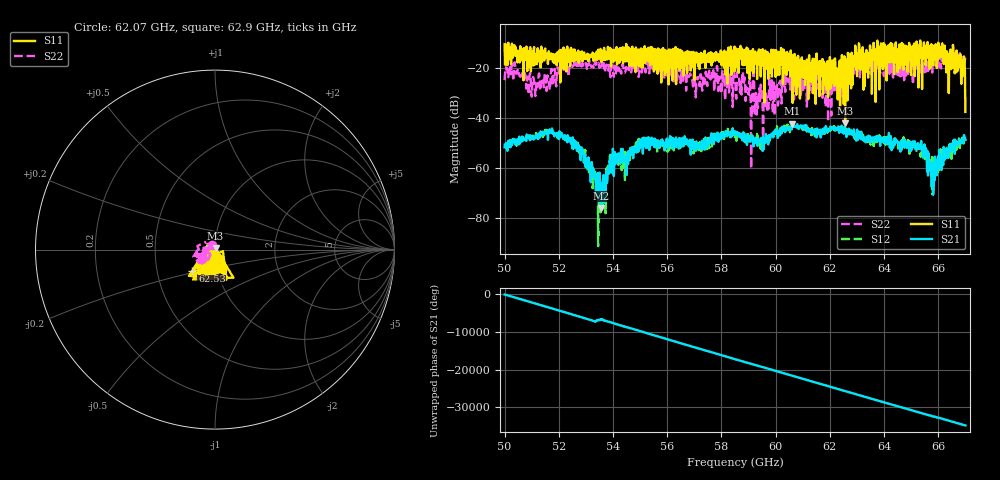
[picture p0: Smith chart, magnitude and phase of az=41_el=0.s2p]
!Created with skrf (http://scikit-rf.org).
# GHz S RI R 50.0
!freq ReS11 ImS11 ReS21 ImS21 ReS12 ImS12 ReS22 ImS22
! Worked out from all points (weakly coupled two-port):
!   1001 points, 50 GHz to 67 GHz, reference 50 ohm
!   highest |S21| = -42.15 dB at 60.61 GHz (marker M1); lowest = -76.0 dB at 53.55 GHz (marker M2)
!   lowest |S11| = -42.0 dB at 62.56 GHz (marker M3), VSWR 1.02, Z = 50.3 + j0.751 ohm
!   |S11| at or under -10 dB: 50.14 GHz to 63.07 GHz (12.94 GHz wide, 22.9 % of centre); 63.07 GHz to 63.62 GHz (542.3 MHz wide, 0.856 % of centre); 66.15 GHz to end of sweep (the widest 3 of 18)
!   |S22| runs from -60.1 to -13.9 dB; largest |S21 - S12| = 0.0024
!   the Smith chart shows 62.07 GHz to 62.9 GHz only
!   S11 on the Smith chart (normalised r, x): 62.07 GHz: 1.03, -0.10; 62.53 GHz: 0.76, -0.19; 62.9 GHz: 1.07, -0.22
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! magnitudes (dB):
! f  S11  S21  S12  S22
! 50 GHz  -10.3  -51.6  -50.2  -24.7
! 51.7 GHz  -16.2  -45.3  -44.9  -23.0
! 52.84 GHz  -14.4  -51.7  -53.1  -19.2
! 53.55 GHz  -14.8  -76.0  -67.9  -16.6
! 53.96 GHz  -14.6  -58.7  -59.4  -18.8
! 55.68 GHz  -13.9  -51.8  -50.5  -22.2
! 57.17 GHz  -15.0  -51.7  -50.0  -25.2
! 58.5 GHz  -20.9  -45.8  -47.7  -24.7
! 59.61 GHz  -13.0  -49.1  -48.4  -33.9
! 59.84 GHz  -12.5  -46.2  -46.2  -26.0
! 60.61 GHz  -16.4  -42.1  -42.5  -23.5
! 61.34 GHz  -24.2  -45.6  -43.9  -26.0
! 62.07 GHz  -26.0  -44.2  -43.4  -31.0
! 62.53 GHz  -15.1  -43.6  -44.0  -18.6
! 62.56 GHz  -42.0  -45.4  -45.4  -20.5
! 62.9 GHz  -19.1  -46.5  -46.9  -22.1
! 64.18 GHz  -17.6  -45.9  -47.1  -18.3
! 65.42 GHz  -12.2  -51.5  -52.0  -21.2
! 65.78 GHz  -10.6  -57.7  -54.5  -21.7
! 66.75 GHz  -19.7  -50.0  -50.5  -18.2
! 66.9 GHz  -16.7  -49.0  -47.7  -15.0
! 67 GHz  -37.5  -48.7  -46.6  -15.7
